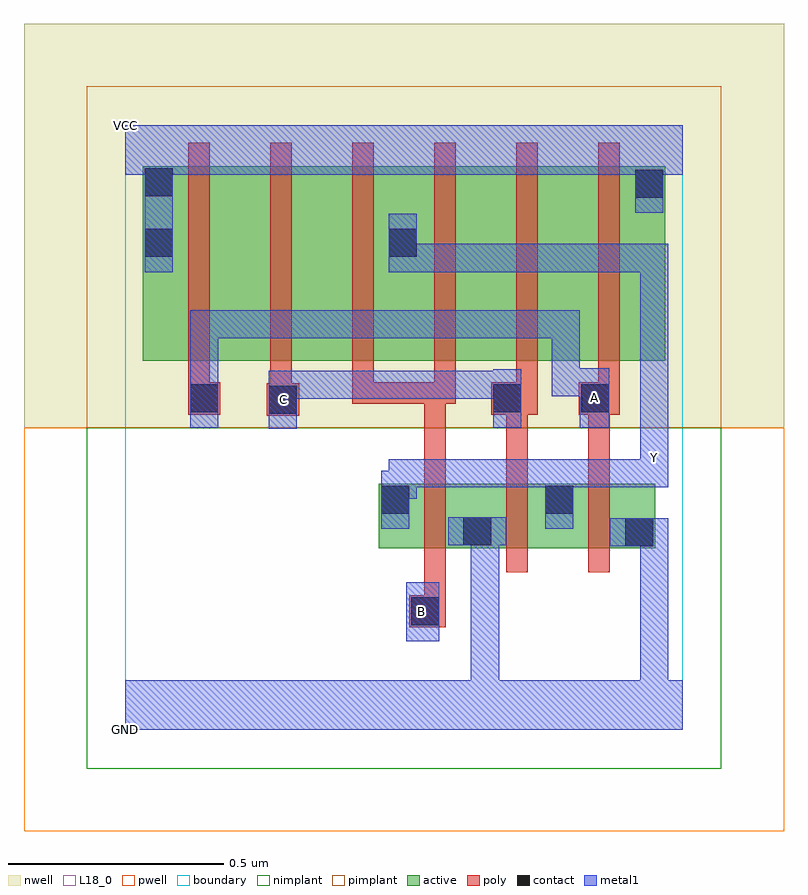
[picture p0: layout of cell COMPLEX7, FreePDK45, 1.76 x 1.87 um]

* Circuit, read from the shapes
.subckt COMPLEX7 A B C GND VCC Y
M1 GND B Y VSUBS nfet w=0.15u l=0.05u
M2 Y C GND VSUBS nfet w=0.15u l=0.05u
M3 GND A Y VSUBS nfet w=0.15u l=0.05u
M4 n1 A VCC n2 pfet w=0.45u l=0.05u
M5 n3 C n1 n2 pfet w=0.45u l=0.05u
M6 Y B n3 n2 pfet w=0.45u l=0.05u
M7 n4 B Y n2 pfet w=0.45u l=0.05u
M8 n5 C n4 n2 pfet w=0.45u l=0.05u
M9 VCC A n5 n2 pfet w=0.45u l=0.05u
.ends

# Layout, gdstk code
import gdstk
lib = gdstk.Library(unit=1e-6, precision=1e-09)
def R(c, l, rs):  # rectangles x0, y0, x1, y1
    for r in rs: c.add(gdstk.rectangle(r[:2], r[2:], *l))
def A(c, l, x, y, w, h, nx, ny, dx, dy):  # array of equal rectangles
    R(c, l, [(x+i*dx, y+j*dy, x+i*dx+w, y+j*dy+h) for i in range(nx) for j in range(ny)])
active = (1, 0)
pwell = (2, 0)
nwell = (3, 0)
nimplant = (4, 0)
pimplant = (5, 0)
poly = (9, 0)
contact = (10, 0)
metal1 = (11, 0)
L18_0 = (18, 0)
boundary = (235, 0)

complex7 = lib.new_cell('COMPLEX7')
R(complex7, active, [(0.587,0.42,0.662,0.57), (0.587,0.42,0.852,0.57), (0.777,0.42,1.042,0.57), (0.777,0.42,0.852,0.547), (0.967,0.42,1.042,0.57), (0.967,0.42,1.227,0.57), (1.152,0.42,1.227,0.57), (0.04,0.855,0.115,1.305), (0.04,0.855,0.265,1.305), (0.265,0.855,0.455,1.305), (0.455,0.855,0.68,1.305), (0.605,0.855,0.835,1.305), (0.605,0.855,0.68,1.2), (0.835,0.855,1.025,1.305), (1.025,0.855,1.25,1.305), (1.175,0.855,1.25,1.305)])
R(complex7, pwell, [(-0.235,-0.235,1.525,0.7)])
R(complex7, nwell, [(-0.235,0.7,1.525,1.635)])
R(complex7, nimplant, [(-0.09,-0.09,1.38,0.7)])
R(complex7, pimplant, [(-0.09,0.7,1.38,1.49)])
A(complex7, poly, 0.692, 0.365, 0.05, 0.26, 3, 1, 0.19, 0)
A(complex7, poly, 0.525, 0.755, 0.05, 0.095, 4, 1, 0.19, 0)
A(complex7, poly, 0.145, 0.8, 0.05, 0.56, 6, 1, 0.19, 0)
R(complex7, poly, [(0.657,0.237,0.742,0.312), (0.692,0.262,0.742,0.415), (0.692,0.575,0.742,0.805), (0.882,0.575,0.932,0.78), (1.072,0.575,1.122,0.78), (0.327,0.727,0.402,0.802), (0.145,0.73,0.22,0.805), (0.847,0.73,0.955,0.805), (1.05,0.73,1.145,0.805), (0.335,0.752,0.385,0.85), (0.145,0.755,0.195,0.85), (0.525,0.755,0.742,0.805), (0.525,0.755,0.575,0.805), (0.525,0.755,0.575,0.805), (0.525,0.755,0.575,0.805), (0.692,0.755,0.765,0.805)])
R(complex7, contact, [(0.662,0.242,0.727,0.307), (1.157,0.425,1.222,0.49), (0.782,0.427,0.847,0.492), (0.592,0.5,0.657,0.565), (0.972,0.5,1.037,0.565), (0.332,0.732,0.397,0.797), (0.15,0.735,0.215,0.8), (0.852,0.735,0.917,0.8), (1.055,0.735,1.12,0.8), (0.045,1.095,0.11,1.16), (0.61,1.095,0.675,1.16), (1.18,1.232,1.245,1.297), (0.045,1.235,0.11,1.3)])
R(complex7, metal1, [(0,0,1.29,0.115), (0.8,0.05,0.865,0.115), (0.8,0.05,0.865,0.115), (0.8,0.05,0.865,0.115), (0.8,0.05,0.865,0.115), (0.8,0.05,0.865,0.115), (0.8,0.05,0.865,0.115), (0.8,0.05,0.865,0.492), (1.192,0.05,1.257,0.115), (1.192,0.05,1.257,0.115), (1.192,0.05,1.257,0.115), (1.192,0.05,1.257,0.115), (1.192,0.05,1.257,0.115), (1.192,0.05,1.257,0.115), (1.192,0.05,1.257,0.49), (0.65,0.205,0.727,0.342), (1.122,0.425,1.257,0.49), (0.747,0.427,0.882,0.492), (0.592,0.465,0.657,0.6), (0.972,0.465,1.037,0.627), (0.592,0.535,0.675,0.6), (0.61,0.535,0.675,0.627), (0.61,0.562,0.865,0.627), (0.8,0.562,0.865,0.627), (0.8,0.562,0.865,0.627), (0.8,0.562,0.865,0.627), (0.8,0.562,1.037,0.627), (0.972,0.562,1.257,0.627), (1.192,0.562,1.257,0.697), (1.192,0.562,1.257,0.627), (1.192,0.562,1.257,0.627), (1.192,0.562,1.257,0.627), (1.192,0.562,1.257,0.627), (1.192,0.632,1.257,1.125), (0.332,0.697,0.397,0.832), (0.15,0.7,0.215,0.835), (0.852,0.7,0.917,0.835), (1.052,0.7,1.12,0.837), (0.332,0.767,0.397,0.832), (0.332,0.767,0.397,0.832), (0.332,0.767,0.535,0.832), (0.47,0.767,0.535,0.832), (0.47,0.767,0.672,0.832), (0.607,0.767,0.672,0.832), (0.607,0.767,0.672,0.832), (0.607,0.767,0.672,0.832), (0.607,0.767,0.9,0.832), (0.835,0.767,0.9,0.832), (0.835,0.767,0.917,0.832), (0.15,0.77,0.215,0.835), (0.15,0.77,0.215,0.835), (0.15,0.77,0.215,0.972), (0.987,0.772,1.052,0.837), (0.987,0.772,1.117,0.837), (0.987,0.772,1.052,0.972), (0.15,0.907,0.215,0.972), (0.15,0.907,0.352,0.972), (0.287,0.907,0.352,0.972), (0.287,0.907,0.352,0.972), (0.287,0.907,0.352,0.972), (0.287,0.907,0.535,0.972), (0.47,0.907,0.535,0.972), (0.47,0.907,0.535,0.972), (0.47,0.907,0.535,0.972), (0.47,0.907,0.672,0.972), (0.607,0.907,0.672,0.972), (0.607,0.907,0.865,0.972), (0.8,0.907,0.865,0.972), (0.8,0.907,0.865,0.972), (0.8,0.907,0.865,0.972), (0.8,0.907,1.052,0.972), (0.987,0.907,1.052,0.972), (0.045,1.06,0.11,1.335), (0.61,1.06,0.675,1.195), (0.61,1.06,0.675,1.125), (0.61,1.06,0.675,1.125), (0.61,1.06,0.9,1.125), (0.835,1.06,0.9,1.125), (0.835,1.06,0.9,1.125), (0.835,1.06,0.9,1.125), (0.835,1.06,1.037,1.125), (0.972,1.06,1.037,1.125), (0.972,1.06,1.257,1.125), (1.192,1.06,1.257,1.125), (1.192,1.06,1.257,1.125), (1.192,1.06,1.257,1.125), (1.192,1.06,1.257,1.125), (1.192,1.06,1.257,1.125), (1.18,1.197,1.245,1.332), (1.18,1.267,1.245,1.35), (0.045,1.27,0.11,1.35), (0,1.285,1.29,1.4)])
R(complex7, L18_0, [(0,0,1.29,0.115), (0.8,0.05,0.865,0.115), (0.8,0.05,0.865,0.115), (0.8,0.05,0.865,0.115), (0.8,0.05,0.865,0.115), (0.8,0.05,0.865,0.115), (0.8,0.05,0.865,0.115), (0.8,0.05,0.865,0.492), (1.192,0.05,1.257,0.115), (1.192,0.05,1.257,0.115), (1.192,0.05,1.257,0.115), (1.192,0.05,1.257,0.115), (1.192,0.05,1.257,0.115), (1.192,0.05,1.257,0.115), (1.192,0.05,1.257,0.49), (0.65,0.205,0.727,0.342), (0.652,0.242,0.717,0.307), (1.122,0.425,1.257,0.49), (0.747,0.427,0.882,0.492), (0.592,0.465,0.657,0.6), (0.972,0.465,1.037,0.627), (0.592,0.535,0.675,0.6), (0.61,0.535,0.675,0.627), (0.61,0.562,0.865,0.627), (0.8,0.562,0.865,0.627), (0.8,0.562,0.865,0.627), (0.8,0.562,0.865,0.627), (0.8,0.562,1.037,0.627), (0.972,0.562,1.257,0.627), (1.192,0.562,1.257,0.697), (1.192,0.562,1.257,0.627), (1.192,0.562,1.257,0.627), (1.192,0.562,1.257,0.627), (1.192,0.562,1.257,0.627), (1.192,0.597,1.257,0.662), (1.192,0.632,1.257,1.125), (0.332,0.697,0.397,0.832), (0.15,0.7,0.215,0.835), (0.852,0.7,0.917,0.835), (1.052,0.7,1.12,0.837), (0.332,0.732,0.397,0.797), (1.052,0.737,1.117,0.802), (0.332,0.767,0.397,0.832), (0.332,0.767,0.397,0.832), (0.332,0.767,0.535,0.832), (0.47,0.767,0.535,0.832), (0.47,0.767,0.672,0.832), (0.607,0.767,0.672,0.832), (0.607,0.767,0.672,0.832), (0.607,0.767,0.672,0.832), (0.607,0.767,0.9,0.832), (0.835,0.767,0.9,0.832), (0.835,0.767,0.917,0.832), (0.15,0.77,0.215,0.835), (0.15,0.77,0.215,0.835), (0.15,0.77,0.215,0.972), (0.987,0.772,1.052,0.837), (0.987,0.772,1.052,0.972), (0.987,0.772,1.117,0.837), (0.15,0.907,0.215,0.972), (0.15,0.907,0.352,0.972), (0.287,0.907,0.352,0.972), (0.287,0.907,0.352,0.972), (0.287,0.907,0.352,0.972), (0.287,0.907,0.535,0.972), (0.47,0.907,0.535,0.972), (0.47,0.907,0.535,0.972), (0.47,0.907,0.535,0.972), (0.47,0.907,0.672,0.972), (0.607,0.907,0.672,0.972), (0.607,0.907,0.865,0.972), (0.8,0.907,0.865,0.972), (0.8,0.907,0.865,0.972), (0.8,0.907,0.865,0.972), (0.8,0.907,1.052,0.972), (0.987,0.907,1.052,0.972), (0.045,1.06,0.11,1.335), (0.61,1.06,0.675,1.195), (0.61,1.06,0.675,1.125), (0.61,1.06,0.675,1.125), (0.61,1.06,0.9,1.125), (0.835,1.06,0.9,1.125), (0.835,1.06,0.9,1.125), (0.835,1.06,0.9,1.125), (0.835,1.06,1.037,1.125), (0.972,1.06,1.037,1.125), (0.972,1.06,1.257,1.125), (1.192,1.06,1.257,1.125), (1.192,1.06,1.257,1.125), (1.192,1.06,1.257,1.125), (1.192,1.06,1.257,1.125), (1.192,1.06,1.257,1.125), (1.18,1.197,1.245,1.332), (1.18,1.267,1.245,1.35), (0.045,1.27,0.11,1.35), (0,1.285,1.29,1.4)])
R(complex7, boundary, [(0,0,1.29,1.4)])
complex7.add(gdstk.Label('A', (1.085,0.77), layer=11, texttype=0))
complex7.add(gdstk.Label('B', (0.685,0.275), layer=11, texttype=0))
complex7.add(gdstk.Label('C', (0.365,0.765), layer=11, texttype=0))
complex7.add(gdstk.Label('Y', (1.225,0.63), layer=11, texttype=0))
complex7.add(gdstk.Label('VCC', (0,1.4), layer=11, texttype=0))
complex7.add(gdstk.Label('GND', (0,0), layer=11, texttype=0))

lib.write_gds('COMPLEX7.gds')
